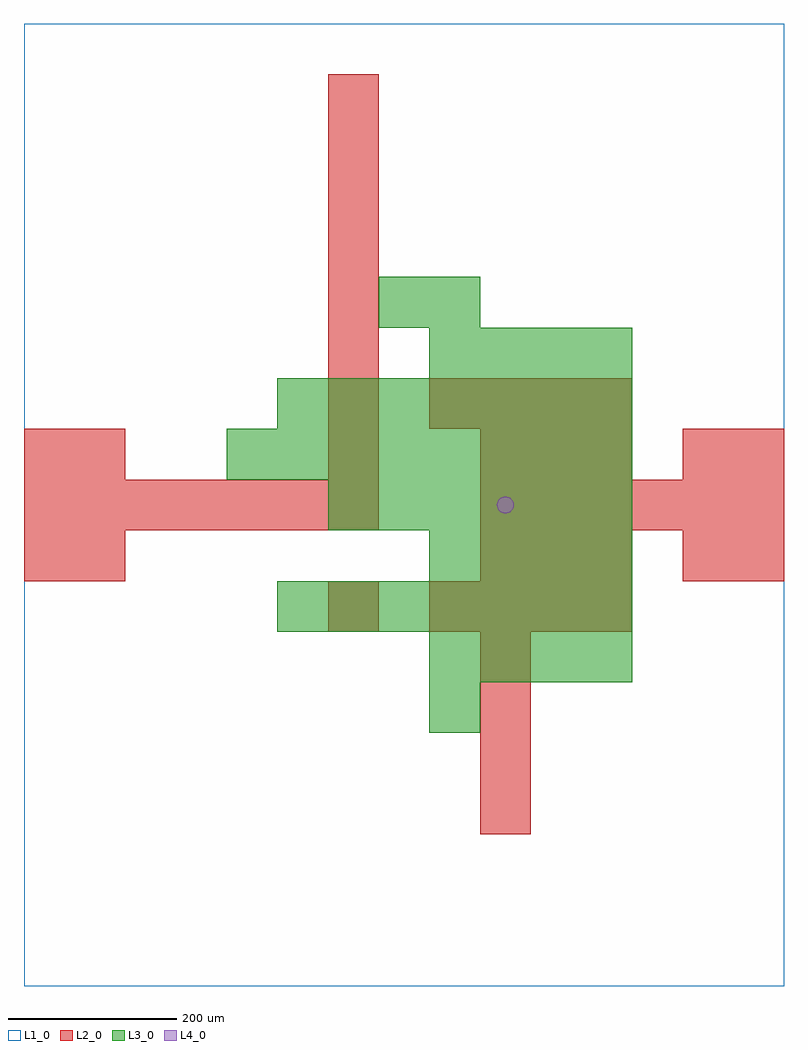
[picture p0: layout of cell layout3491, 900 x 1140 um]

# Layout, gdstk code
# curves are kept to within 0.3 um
import gdstk
lib = gdstk.Library(unit=1e-6, precision=1e-09)
def R(c, l, rs):  # rectangles x0, y0, x1, y1
    for r in rs: c.add(gdstk.rectangle(r[:2], r[2:], *l))
def A(c, l, x, y, w, h, nx, ny, dx, dy):  # array of equal rectangles
    R(c, l, [(x+i*dx, y+j*dy, x+i*dx+w, y+j*dy+h) for i in range(nx) for j in range(ny)])
def P(c, l, *ps):  # polygons
    for p in ps: c.add(gdstk.Polygon(p, *l))
L1_0 = (1, 0)
L2_0 = (2, 0)
L3_0 = (3, 0)
L4_0 = (4, 0)

layout3491 = lib.new_cell('layout3491')
R(layout3491, L1_0, [(0,0,900,1140)])
A(layout3491, L2_0, 540, 180, 60, 60, 1, 4, 0, 60)
A(layout3491, L2_0, 480, 420, 60, 60, 4, 2, 60, 240)
A(layout3491, L2_0, 540, 480, 60, 60, 3, 2, 60, 120)
A(layout3491, L2_0, 0, 540, 60, 60, 7, 1, 60, 0)
A(layout3491, L2_0, 540, 540, 60, 60, 6, 1, 60, 0)
A(layout3491, L2_0, 360, 600, 60, 60, 1, 8, 0, 60)
R(layout3491, L2_0, [(360,420,420,480), (0,480,60,540), (60,480,120,540), (780,480,840,540), (840,480,900,540), (0,600,60,660), (60,600,120,660), (780,600,840,660), (840,600,900,660)])
A(layout3491, L3_0, 480, 360, 60, 60, 4, 2, 60, 120)
A(layout3491, L3_0, 300, 420, 60, 60, 7, 2, 60, 240)
A(layout3491, L3_0, 360, 540, 60, 60, 6, 1, 60, 0)
A(layout3491, L3_0, 240, 600, 60, 60, 8, 1, 60, 0)
A(layout3491, L3_0, 480, 720, 60, 60, 4, 1, 60, 0)
R(layout3491, L3_0, [(480,300,540,360), (420,780,480,840), (480,780,540,840)])
P(layout3491, L4_0, [(580,570),(579.239,573.827),(577.071,577.071),(573.827,579.239),(570,580),(566.173,579.239),(562.929,577.071),(560.761,573.827),(560,570),(560.761,566.173),(562.929,562.929),(566.173,560.761),(570,560),(573.827,560.761),(577.071,562.929),(579.239,566.173)])

lib.write_gds('layout3491.gds')
